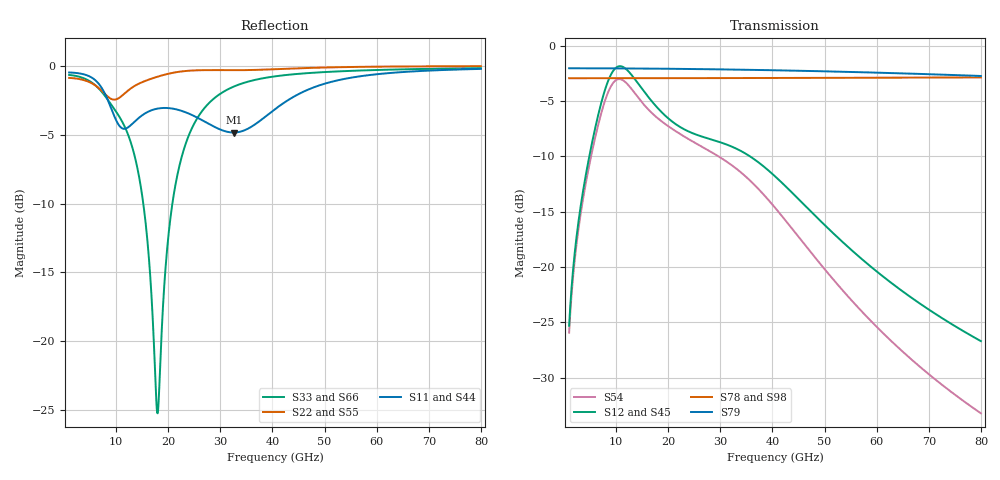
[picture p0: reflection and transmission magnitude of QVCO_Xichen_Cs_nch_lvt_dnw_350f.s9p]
! Touchstone Ver. 1.0
! Number of ports is 9
# Hz	S	RI	R	50.000000
! SCATTERING PARAMETERS  :
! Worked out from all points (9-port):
!   1001 points, 1 GHz to 80 GHz, reference 50 ohm
!   strongest paths, dB at 1 GHz, 20.75 GHz, 40.5 GHz, 60.25 GHz, 80 GHz:
!     S79: -2.0, -2.1, -2.2, -2.4, -2.7
!     S78: -2.9, -2.9, -2.9, -2.9, -2.9
!     S98: -2.9, -3.0, -3.0, -3.1, -3.2
!     S12: -25.3, -6.8, -11.8, -20.5, -26.7
!     S45: -25.3, -6.8, -11.8, -20.5, -26.7
!     S54: -25.9, -7.5, -14.6, -25.5, -33.2
!   lowest |S11| = -4.8 dB at 32.6 GHz (marker M1), VSWR 3.68, Z = 88.5 + j84.7 ohm
!   |S11| at or under -10 dB: nowhere
